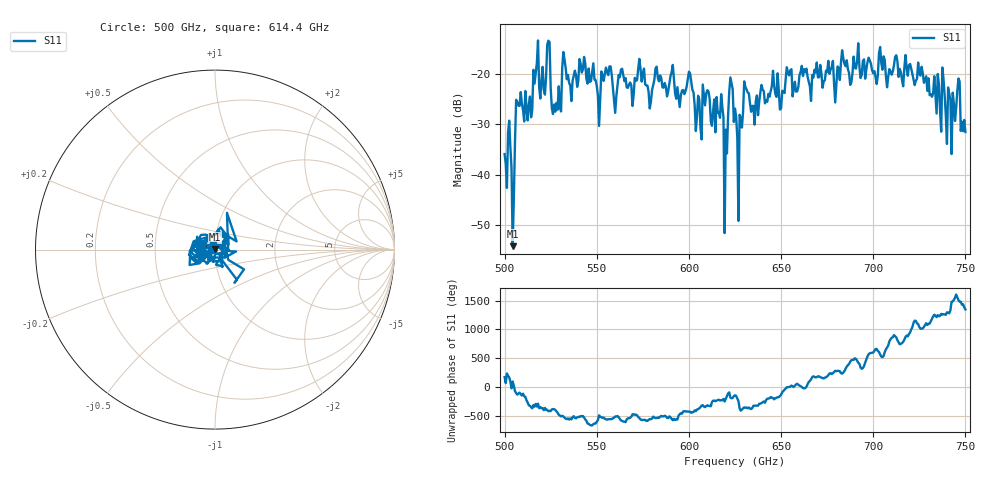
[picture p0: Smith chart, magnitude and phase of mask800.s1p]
!Created with skrf (http://scikit-rf.org).
# GHz S MA R 50.0
!freq magS11 angS11
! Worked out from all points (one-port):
!   401 points, 500 GHz to 750 GHz, reference 50 ohm
!   lowest |S11| = -54.2 dB at 504.4 GHz (marker M1), VSWR 1.00, Z = 50 + j0.193 ohm
!   |S11| at or under -10 dB: start of sweep to end of sweep
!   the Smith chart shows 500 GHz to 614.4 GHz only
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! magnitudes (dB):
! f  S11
! 500 GHz  -35.9
! 502.5 GHz  -29.3
! 504.4 GHz  -54.2
! 507.5 GHz  -26.3
! 513.8 GHz  -24.5
! 516.9 GHz  -19.9
! 520.6 GHz  -18.6
! 523.8 GHz  -13.4
! 526.9 GHz  -26.1
! 531.2 GHz  -18.8
! 560 GHz  -27.7
! 562.5 GHz  -20.7
! 593.8 GHz  -22.6
! 600 GHz  -19.5
! 605.6 GHz  -25.1
! 616.2 GHz  -27.6
! 620 GHz  -31.1
! 622.5 GHz  -20.7
! 625 GHz  -26.9
! 627.5 GHz  -28.1
! 631.2 GHz  -23.1
! 634.4 GHz  -26.4
! 656.2 GHz  -24.5
! 687.5 GHz  -22.2
! 718.8 GHz  -20.4
! 741.2 GHz  -24.0
! 745.6 GHz  -23.3
! 750 GHz  -31.5
